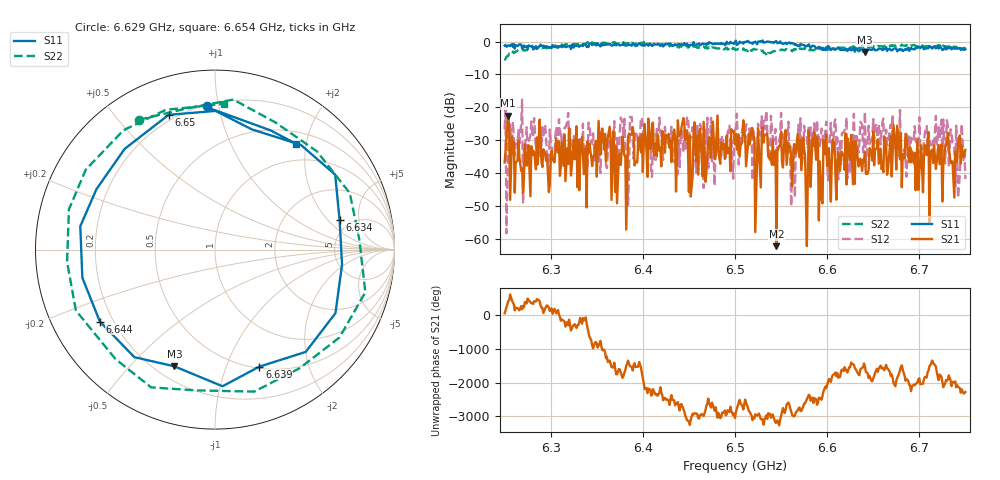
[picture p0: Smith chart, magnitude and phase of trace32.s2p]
# Hz S RI R 50
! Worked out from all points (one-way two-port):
!   401 points, 6.25 GHz to 6.75 GHz, reference 50 ohm
!   highest |S21| = -22.52 dB at 6.254 GHz (marker M1); lowest = -62.3 dB at 6.545 GHz (marker M2)
!   lowest |S11| = -3.2 dB at 6.641 GHz (marker M3), VSWR 5.42, Z = 13.6 - j33.7 ohm
!   |S11| at or under -10 dB: nowhere
!   |S22| runs from -5.7 to -0.1 dB; largest |S21 - S12| = 0.14
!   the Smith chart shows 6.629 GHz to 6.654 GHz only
!   S11 on the Smith chart (normalised r, x): 6.629 GHz: 0.21, +0.92; 6.634 GHz: 4.06, +2.73; 6.639 GHz: 0.52, -1.31; 6.644 GHz: 0.15, -0.28; 6.65 GHz: 0.17, +0.70; 6.654 GHz: 0.69, +1.81
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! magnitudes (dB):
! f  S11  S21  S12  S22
! 6.25 GHz  -1.3  -36.8  -26.6  -5.7
! 6.254 GHz  -1.2  -22.5  -27.3  -4.3
! 6.334 GHz  -1.2  -29.1  -33.6  -0.5
! 6.418 GHz  -1.0  -33.3  -23.1  -0.9
! 6.5 GHz  -0.2  -31.3  -27.3  -2.4
! 6.545 GHz  0.1  -62.3  -33.6  -2.7
! 6.562 GHz  -0.5  -44.1  -35.2  -3.0
! 6.569 GHz  -1.2  -33.4  -25.3  -2.6
! 6.58 GHz  -0.9  -27.1  -25.7  -2.3
! 6.584 GHz  -1.3  -29.4  -30.2  -2.7
! 6.592 GHz  -1.9  -36.5  -31.8  -1.9
! 6.599 GHz  -1.8  -28.3  -24.4  -2.5
! 6.629 GHz  -1.9  -30.4  -22.0  -1.5
! 6.634 GHz  -2.9  -38.0  -33.8  -2.1
! 6.639 GHz  -3.1  -35.9  -33.7  -1.4
! 6.641 GHz  -3.2  -33.7  -21.4  -1.7
! 6.644 GHz  -2.4  -40.2  -29.7  -1.5
! 6.65 GHz  -2.0  -27.3  -23.6  -1.4
! 6.654 GHz  -2.6  -32.4  -25.1  -1.8
! 6.668 GHz  -2.2  -32.3  -26.6  -1.4
! 6.729 GHz  -2.4  -31.6  -29.2  -1.4
! 6.75 GHz  -2.3  -33.0  -41.8  -2.6
